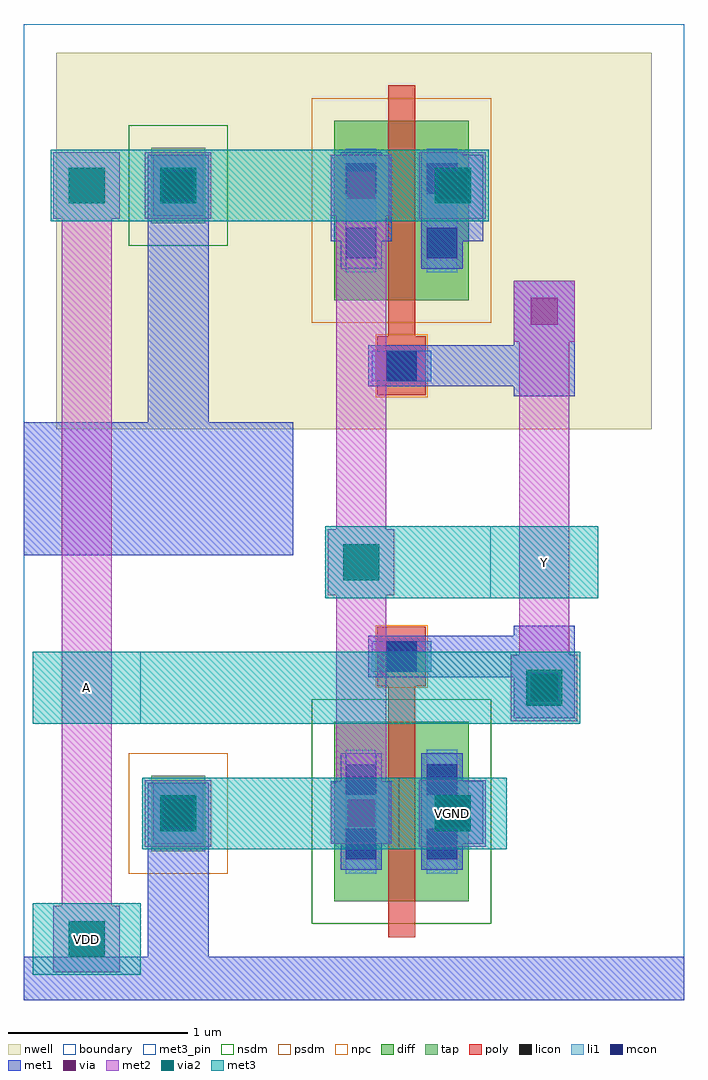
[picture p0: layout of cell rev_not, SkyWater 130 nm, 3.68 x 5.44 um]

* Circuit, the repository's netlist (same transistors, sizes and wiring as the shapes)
* NGSPICE file created from rev_not.ext - technology: sky130A

.subckt rev_not VDD VGND A Y
X0 VGND A Y VGND sky130_fd_pr__nfet_01v8 ad=0.3 pd=2.6 as=0.3 ps=2.6 w=1 l=0.15
X1 VDD A Y VDD sky130_fd_pr__pfet_01v8 ad=0.3 pd=2.6 as=0.3 ps=2.6 w=1 l=0.15
.ends

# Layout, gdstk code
import gdstk
lib = gdstk.Library(unit=1e-6, precision=1e-09)
def R(c, l, rs):  # rectangles x0, y0, x1, y1
    for r in rs: c.add(gdstk.rectangle(r[:2], r[2:], *l))
def A(c, l, x, y, w, h, nx, ny, dx, dy):  # array of equal rectangles
    R(c, l, [(x+i*dx, y+j*dy, x+i*dx+w, y+j*dy+h) for i in range(nx) for j in range(ny)])
nwell = (64, 20)
diff = (65, 20)
tap = (65, 44)
poly = (66, 20)
licon = (66, 44)
li1 = (67, 20)
mcon = (67, 44)
met1 = (68, 20)
via = (68, 44)
met2 = (69, 20)
via2 = (69, 44)
met3_pin = (70, 16)
met3 = (70, 20)
nsdm = (93, 44)
psdm = (94, 20)
npc = (95, 20)
boundary = (235, 4)

rev_not = lib.new_cell('rev_not')
R(rev_not, nwell, [(0.18,3.18,3.5,5.28), (1.425,3.18,2.785,5.28)])
R(rev_not, diff, [(1.73,0.55,2.48,1.55), (1.73,3.9,2.48,4.9)])
R(rev_not, tap, [(0.71,0.83,1.01,1.25), (0.71,4.33,1.01,4.75)])
R(rev_not, poly, [(2.03,0.35,2.18,1.75), (1.97,1.75,2.24,2.08), (1.97,3.37,2.24,3.7), (2.03,3.7,2.18,5.1)])
R(rev_not, licon, [(1.795,0.785,1.965,0.955), (2.245,0.785,2.415,0.955), (0.775,0.955,0.945,1.125), (1.795,1.145,1.965,1.315), (2.245,1.145,2.415,1.315), (2.02,1.83,2.19,2), (2.02,3.45,2.19,3.62), (1.795,4.135,1.965,4.305), (2.245,4.135,2.415,4.305), (0.775,4.455,0.945,4.625), (1.795,4.495,1.965,4.665), (2.245,4.495,2.415,4.665)])
R(rev_not, li1, [(1.795,0.705,1.965,1.395), (2.245,0.705,2.415,1.395), (0.72,0.87,1,1.21), (1.94,1.83,2.27,2), (1.94,3.45,2.27,3.62), (1.795,4.055,1.965,4.745), (2.245,4.055,2.415,4.745), (0.72,4.37,1,4.71)])
R(rev_not, mcon, [(1.795,0.785,1.965,0.955), (2.245,0.785,2.415,0.955), (0.775,0.955,0.945,1.125), (1.795,1.145,1.965,1.315), (2.245,1.145,2.415,1.315), (2.02,1.83,2.19,2), (2.02,3.45,2.19,3.62), (1.795,4.135,1.965,4.305), (2.245,4.135,2.415,4.305), (0.775,4.455,0.945,4.625), (1.795,4.495,1.965,4.665), (2.245,4.495,2.415,4.665)])
R(rev_not, met1, [(0,0,3.68,0.24), (0.69,0,1.03,1.21), (1.765,0.725,1.995,1.375), (2.215,0.725,2.445,1.375), (0.69,0.87,1.03,1.21), (1.71,0.87,2.05,1.21), (1.71,0.87,2.05,1.22), (2.22,0.87,2.56,1.21), (2.22,0.87,2.56,1.22), (1.765,0.935,1.995,1.165), (2.215,0.935,2.505,1.165), (2.73,1.57,3.07,2.085), (2.73,1.57,3.07,1.91), (1.92,1.8,2.29,2.03), (1.99,1.8,3.015,2.03), (0,2.48,1.5,3.22), (0.69,3.22,1.03,4.71), (2.73,3.365,3.07,4.01), (1.92,3.42,2.29,3.65), (1.99,3.42,3.015,3.65), (2.73,3.67,3.07,4.01), (1.765,4.075,1.995,4.725), (2.215,4.075,2.445,4.725), (1.71,4.23,2.05,4.71), (2.22,4.23,2.56,4.71), (1.765,4.285,1.995,4.515), (2.215,4.285,2.505,4.515), (0.69,4.37,1.03,4.71), (1.71,4.37,2.05,4.71), (2.22,4.37,2.56,4.71)])
R(rev_not, via, [(0.785,0.965,0.935,1.115), (1.805,0.965,1.955,1.115), (2.315,0.965,2.465,1.115), (2.825,1.665,2.975,1.815), (2.825,3.765,2.975,3.915), (0.785,4.465,0.935,4.615), (1.805,4.465,1.955,4.615), (2.315,4.465,2.465,4.615)])
A(rev_not, met2, 0.21, 0.2, 0.28, 0.98, 1, 6, 0, 0.7)
A(rev_not, met2, 1.74, 0.9, 0.28, 0.98, 1, 5, 0, 0.7)
A(rev_not, met2, 2.76, 1.6, 0.28, 0.98, 1, 3, 0, 0.7)
R(rev_not, met2, [(0.165,0.155,0.535,0.525), (0.675,0.855,1.045,1.225), (2.205,0.855,2.575,1.225), (0.69,0.87,1.03,1.21), (1.71,0.87,2.05,1.21), (2.22,0.87,2.56,1.21), (2.715,1.555,3.085,1.925), (2.73,1.57,3.07,1.91), (1.695,2.255,2.065,2.625), (2.73,3.67,3.07,4.01), (0.165,4.355,0.535,4.725), (0.675,4.355,1.045,4.725), (2.205,4.355,2.575,4.725), (0.69,4.37,1.03,4.71), (1.71,4.37,2.05,4.71), (2.22,4.37,2.56,4.71)])
R(rev_not, via2, [(0.25,0.24,0.45,0.44), (0.76,0.94,0.96,1.14), (2.29,0.94,2.49,1.14), (2.8,1.64,3,1.84), (1.78,2.34,1.98,2.54), (0.25,4.44,0.45,4.64), (0.76,4.44,0.96,4.64), (2.29,4.44,2.49,4.64)])
R(rev_not, met3_pin, [(0.05,0.14,0.65,0.54), (2.09,0.84,2.69,1.24), (0.05,1.54,0.65,1.94), (2.6,2.24,3.2,2.64)])
A(rev_not, met3, 0.66, 0.84, 0.91, 0.4, 3, 1, 0.51, 0)
A(rev_not, met3, 0.15, 1.54, 0.91, 0.4, 5, 1, 0.51, 0)
A(rev_not, met3, 0.15, 4.34, 0.91, 0.4, 4, 1, 0.51, 0)
R(rev_not, met3, [(0.05,0.14,0.65,0.54), (0.15,0.14,0.55,0.54), (0.66,0.84,1.06,1.24), (2.09,0.84,2.69,1.24), (2.19,0.84,2.59,1.24), (0.05,1.54,0.65,1.94), (2.7,1.54,3.1,1.94), (1.68,2.24,2.59,2.64), (1.68,2.24,2.08,2.64), (2.19,2.24,3.1,2.64), (2.6,2.24,3.2,2.64), (0.15,4.34,0.55,4.74), (0.66,4.34,1.06,4.74), (2.19,4.34,2.59,4.74)])
R(rev_not, nsdm, [(1.605,0.425,2.605,1.675), (0.585,4.205,1.135,4.875)])
R(rev_not, psdm, [(0.585,0.705,1.135,1.375), (1.605,3.775,2.605,5.025)])
R(rev_not, npc, [(1.96,1.74,2.25,2.09), (1.96,3.36,2.25,3.71)])
R(rev_not, boundary, [(0,0,3.68,5.44)])
rev_not.add(gdstk.Label('Y', (2.9,2.44), layer=70, texttype=5))
rev_not.add(gdstk.Label('A', (0.35,1.74), layer=70, texttype=5))
rev_not.add(gdstk.Label('VGND', (2.39,1.04), layer=70, texttype=5))
rev_not.add(gdstk.Label('VDD', (0.35,0.34), layer=70, texttype=5))

lib.write_gds('rev_not.gds')
